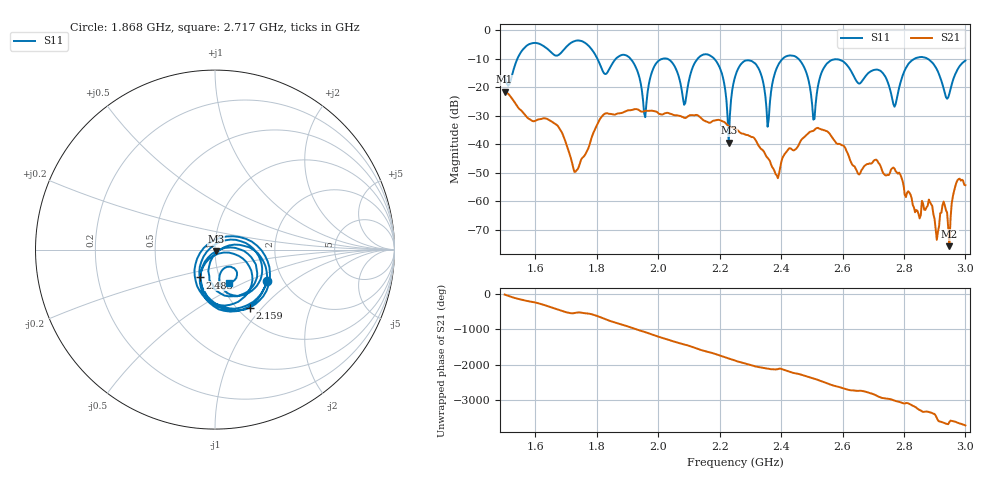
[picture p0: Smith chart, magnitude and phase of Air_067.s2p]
# HZ S RI R 50
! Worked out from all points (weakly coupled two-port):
!   404 points, 1.5 GHz to 3 GHz, reference 50 ohm
!   highest |S21| = -21.63 dB at 1.5 GHz (marker M1); lowest = -75.8 dB at 2.948 GHz (marker M2)
!   lowest |S11| = -39.5 dB at 2.23 GHz (marker M3), VSWR 1.02, Z = 50.6 - j0.897 ohm
!   |S11| at or under -10 dB: 2.182 GHz to 2.406 GHz (223.6 MHz wide, 9.75 % of centre); 2.456 GHz to 2.835 GHz (379.1 MHz wide, 14.3 % of centre); 2.876 GHz to end of sweep (the widest 3 of 7)
!   S12 and S22 are empty: the file has one direction only
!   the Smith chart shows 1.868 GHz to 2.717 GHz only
!   S11 on the Smith chart (normalised r, x): 1.868 GHz: 1.66, -0.65; 2.159 GHz: 1.14, -0.86; 2.483 GHz: 0.81, -0.26; 2.717 GHz: 1.09, -0.42
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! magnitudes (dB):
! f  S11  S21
! 1.5 GHz  -16.4  -21.6
! 1.578 GHz  -5.0  -31.0
! 1.753 GHz  -3.9  -44.8
! 1.868 GHz  -9.5  -29.2
! 1.958 GHz  -30.5  -28.3
! 2.002 GHz  -10.6  -29.4
! 2.084 GHz  -26.2  -30.7
! 2.159 GHz  -8.5  -32.1
! 2.203 GHz  -14.0  -31.7
! 2.23 GHz  -39.5  -33.6
! 2.252 GHz  -15.8  -34.5
! 2.315 GHz  -11.6  -38.3
! 2.356 GHz  -33.9  -44.8
! 2.386 GHz  -13.3  -50.9
! 2.483 GHz  -15.0  -36.8
! 2.501 GHz  -26.3  -35.4
! 2.561 GHz  -10.7  -36.8
! 2.717 GHz  -14.0  -46.6
! 2.751 GHz  -19.3  -50.8
! 2.862 GHz  -9.5  -60.9
! 2.948 GHz  -22.3  -75.8
! 3 GHz  -10.7  -54.4
